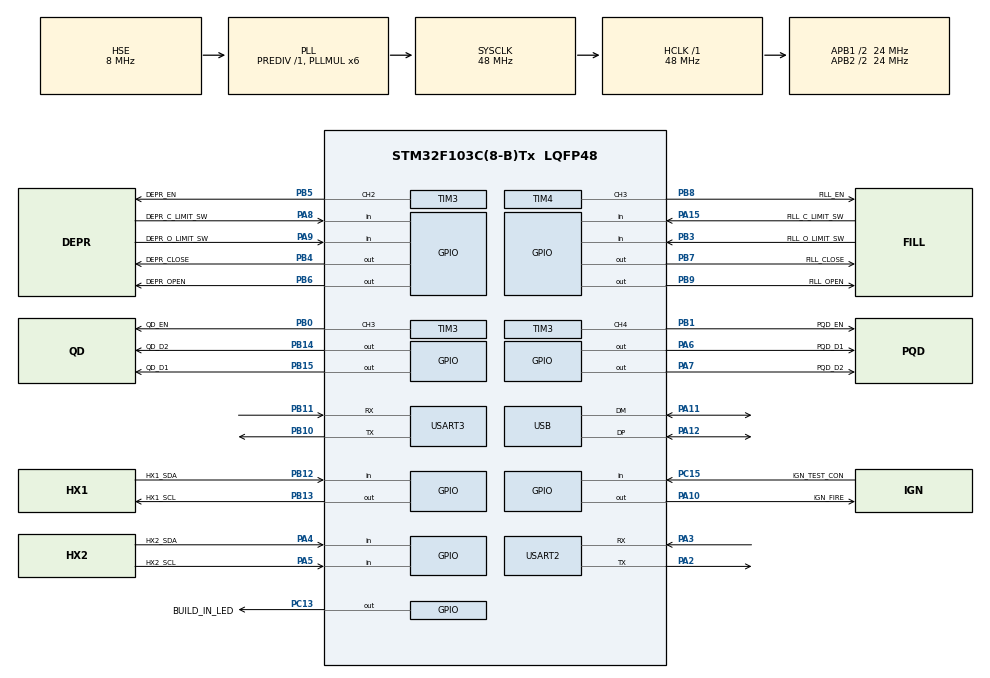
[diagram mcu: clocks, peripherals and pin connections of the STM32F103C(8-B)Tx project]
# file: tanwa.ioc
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Mcu.Family=STM32F1
PB10.Mode=Asynchronous
PB14.GPIO_Label=QD_D2
PA11.Mode=Device
PA6.GPIO_Label=PQD_D1
PB0.GPIO_Label=QD_EN
PB6.GPIO_Label=DEPR_OPEN
PB13.GPIO_Label=HX1_SCL
PB11.Signal=USART3_RX
PB13.Signal=GPIO_Output
PB15.Signal=GPIO_Output
PC15-OSC32_OUT.GPIO_Label=IGN_TEST_CON
TIM3.Channel-PWM\ Generation4\ CH4=TIM_CHANNEL_4
RCC.SYSCLKSource=RCC_SYSCLKSOURCE_PLLCLK
ProjectManager.StackSize=0x400
PD1-OSC_OUT.Signal=RCC_OSC_OUT
PA15.GPIO_Label=FILL_C_LIMIT_SW
PA12.Signal=USB_DP
RCC.HCLKFreq_Value=48000000
RCC.APB2TimFreq_Value=48000000
TIM3.Period=999
PB6.Signal=GPIO_Output
RCC.AHBFreq_Value=48000000
TIM4.Channel-PWM\ Generation3\ CH3=TIM_CHANNEL_3
RCC.PLLMUL=RCC_PLL_MUL6
PB12.GPIO_Label=HX1_SDA
PA14.Mode=Serial_Wire
TIM3.Prescaler=7
PB1.GPIO_Label=PQD_EN
PA10.GPIO_Label=IGN_FIRE
PB7.Signal=GPIO_Output
PA8.Signal=GPIO_Input
PB7.GPIO_Label=FILL_CLOSE
Mcu.Package=LQFP48
PB9.Signal=GPIO_Output
PB1.Signal=S_TIM3_CH4
PA6.Signal=GPIO_Output
USART2.VirtualMode=VM_ASYNC
PA10.Signal=GPIO_Output
PA15.Signal=GPIO_Input
RCC.APB2CLKDivider=RCC_HCLK_DIV2
PB5.GPIO_Label=DEPR_EN
RCC.APB1TimFreq_Value=48000000
TIM3.Pulse-PWM\ Generation2\ CH2=500
PA4.GPIO_Label=HX2_SDA
PB4.Signal=GPIO_Output
PA3.Signal=USART2_RX
PB3.GPIO_Label=FILL_O_LIMIT_SW
PD1-OSC_OUT.Mode=HSE-External-Oscillator
PB9.GPIO_Label=FILL_OPEN
TIM3.AutoReloadPreload=TIM_AUTORELOAD_PRELOAD_ENABLE
PA9.GPIO_Label=DEPR_O_LIMIT_SW
PC13-TAMPER-RTC.Signal=GPIO_Output
PD0-OSC_IN.Signal=RCC_OSC_IN
RCC.APB1CLKDivider=RCC_HCLK_DIV2
SH.S_TIM3_CH3.0=TIM3_CH3,PWM Generation3 CH3
RCC.ADCPresc=RCC_ADCPCLK2_DIV4
PA3.Mode=Asynchronous
PA13.Signal=SYS_JTMS-SWDIO
TIM3.Channel-PWM\ Generation3\ CH3=TIM_CHANNEL_3
PB8.GPIO_Label=FILL_EN
PA8.GPIO_Label=DEPR_C_LIMIT_SW
PB11.Mode=Asynchronous
ProjectManager.TargetToolchain=STM32CubeIDE
SH.S_TIM4_CH3.0=TIM4_CH3,PWM Generation3 CH3
PA9.Signal=GPIO_Input
RCC.USBFreq_Value=48000000
PC15-OSC32_OUT.Signal=GPIO_Input
PD0-OSC_IN.Mode=HSE-External-Oscillator
PB10.Signal=USART3_TX
PB14.Signal=GPIO_Output
PA5.Signal=GPIO_Input
SH.S_TIM3_CH2.0=TIM3_CH2,PWM Generation2 CH2
board=custom
PC13-TAMPER-RTC.GPIO_Label=BUILD_IN_LED
RCC.APB2Freq_Value=24000000
PB4.GPIO_Label=DEPR_CLOSE
PB15.GPIO_Label=QD_D1
PA13.Mode=Serial_Wire
Mcu.Name=STM32F103C(8-B)Tx
PA2.Signal=USART2_TX
PB3.Signal=GPIO_Input
PA4.Signal=GPIO_Input
RCC.SYSCLKFreq_VALUE=48000000
PB5.Signal=S_TIM3_CH2
PA7.GPIO_Label=PQD_D2
PA12.Mode=Device
PA5.GPIO_Label=HX2_SCL
USART3.VirtualMode=VM_ASYNC
PA11.Signal=USB_DM
PA14.Signal=SYS_JTCK-SWCLK
ProjectManager.HeapSize=0x200
NVIC.PriorityGroup=NVIC_PRIORITYGROUP_4
TIM3.Channel-PWM\ Generation2\ CH2=TIM_CHANNEL_2
PA2.Mode=Asynchronous
PB8.Signal=S_TIM4_CH3
RCC.APB1Freq_Value=24000000
PB0.Signal=S_TIM3_CH3
PB12.Signal=GPIO_Input
SH.S_TIM3_CH4.0=TIM3_CH4,PWM Generation4 CH4
PA7.Signal=GPIO_Output

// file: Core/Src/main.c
/* USER CODE BEGIN Header */
/**
  ******************************************************************************
  * @file           : main.c
  * @brief          : Main program body
  ******************************************************************************
  * @attention
  *
  * <h2><center>&copy; Copyright (c) 2021 STMicroelectronics.
  * All rights reserved.</center></h2>
  *
  * This software component is licensed by ST under BSD 3-Clause license,
  * the "License"; You may not use this file except in compliance with the
  * License. You may obtain a copy of the License at:
  *                        opensource.org/licenses/BSD-3-Clause
  *
  ******************************************************************************
  */
/* USER CODE END Header */
#include "main.h"
#include "tim.h"
#include "usart.h"
#include "usb.h"
#include "gpio.h"

/* USER CODE BEGIN Includes */
#include <L298.h>
#include <Bluetooth.h>
#include <Igniter.h>
/* USER CODE END Includes */

/* USER CODE BEGIN PV */
 uint8_t state = 0;

/* USER CODE END PV */

void SystemClock_Config(void);

int main(void)
{

  /* MCU Configuration--------------------------------------------------------*/

  /* Reset of all peripherals, Initializes the Flash interface and the Systick. */
  HAL_Init();

  /* Configure the system clock */
  SystemClock_Config();

  /* Initialize all configured peripherals */
  MX_GPIO_Init();
  MX_USART2_UART_Init();
  MX_USB_PCD_Init();
  MX_TIM3_Init();
  MX_TIM4_Init();
  MX_USART3_UART_Init();
  /* USER CODE BEGIN 2 */
  HAL_TIM_PWM_Start(&htim3, TIM_CHANNEL_2);
  HAL_TIM_PWM_Start(&htim3, TIM_CHANNEL_3);
  HAL_TIM_PWM_Start(&htim3, TIM_CHANNEL_4);
  HAL_TIM_PWM_Start(&htim4, TIM_CHANNEL_3);

//  HAL_TIM_PWM_Start(&htim1, TIM_CHANNEL_3); test timer

  /* USER CODE END 2 */

  /* Infinite loop */
  /* USER CODE BEGIN WHILE */

 //Motor - Fill - PB7(close) PB8(enable) PB9(open)

//ADDED FOR BLUETOOTH///
 // HAL_GPIO_WritePin(Bluetooth_reset_GPIO_Port, Bluetooth_reset_Pin, SET);//ADDITIONAL PIN PC14 FOR RESET //
  HAL_Delay(1000);

  char* buff;
  memset(buff, 0, sizeof(buff));
  // HAL_TIM_Base_Start_IT(&htim2);
  __HAL_UART_ENABLE_IT(&huart2, UART_IT_RXNE);

  /* USER CODE END 2 */

  /* USER CODE BEGIN WHILE */

  Igniter* Ignit = igniter_init(IGN_FIRE_GPIO_Port, IGN_FIRE_Pin, IGN_TEST_CON_GPIO_Port, IGN_TEST_CON_Pin);
  Motor* Fill = motor_init(FILL_OPEN_GPIO_Port, FILL_OPEN_Pin, FILL_CLOSE_GPIO_Port , FILL_CLOSE_Pin, &htim3 , TIM_CHANNEL_3, FILL_O_LIMIT_SW_GPIO_Port, FILL_O_LIMIT_SW_Pin, FILL_C_LIMIT_SW_GPIO_Port, FILL_C_LIMIT_SW_Pin);

  while (1)
  {
	  switch(state){
	  case 0: //test state
		  motor_initial(Fill);
		  if(igniter_is_connected(Ignit)){
			  HAL_GPIO_TogglePin(BUILD_IN_LED_GPIO_Port, BUILD_IN_LED_Pin);
		  }
		  HAL_Delay(1000);
		  break;
	  }

  }
    /* USER CODE END WHILE */

}

void SystemClock_Config(void)
{
  RCC_OscInitTypeDef RCC_OscInitStruct = {0};
  RCC_ClkInitTypeDef RCC_ClkInitStruct = {0};
  RCC_PeriphCLKInitTypeDef PeriphClkInit = {0};

  /** Initializes the RCC Oscillators according to the specified parameters
  * in the RCC_OscInitTypeDef structure.
  */
  RCC_OscInitStruct.OscillatorType = RCC_OSCILLATORTYPE_HSE;
  RCC_OscInitStruct.HSEState = RCC_HSE_ON;
  RCC_OscInitStruct.HSEPredivValue = RCC_HSE_PREDIV_DIV1;
  RCC_OscInitStruct.HSIState = RCC_HSI_ON;
  RCC_OscInitStruct.PLL.PLLState = RCC_PLL_ON;
  RCC_OscInitStruct.PLL.PLLSource = RCC_PLLSOURCE_HSE;
  RCC_OscInitStruct.PLL.PLLMUL = RCC_PLL_MUL6;
  if (HAL_RCC_OscConfig(&RCC_OscInitStruct) != HAL_OK)
  {
    Error_Handler();
  }
  /** Initializes the CPU, AHB and APB buses clocks
  */
  RCC_ClkInitStruct.ClockType = RCC_CLOCKTYPE_HCLK|RCC_CLOCKTYPE_SYSCLK
                              |RCC_CLOCKTYPE_PCLK1|RCC_CLOCKTYPE_PCLK2;
  RCC_ClkInitStruct.SYSCLKSource = RCC_SYSCLKSOURCE_PLLCLK;
  RCC_ClkInitStruct.AHBCLKDivider = RCC_SYSCLK_DIV1;
  RCC_ClkInitStruct.APB1CLKDivider = RCC_HCLK_DIV2;
  RCC_ClkInitStruct.APB2CLKDivider = RCC_HCLK_DIV2;

  if (HAL_RCC_ClockConfig(&RCC_ClkInitStruct, FLASH_LATENCY_1) != HAL_OK)
  {
    Error_Handler();
  }
  PeriphClkInit.PeriphClockSelection = RCC_PERIPHCLK_USB;
  PeriphClkInit.UsbClockSelection = RCC_USBCLKSOURCE_PLL;
  if (HAL_RCCEx_PeriphCLKConfig(&PeriphClkInit) != HAL_OK)
  {
    Error_Handler();
  }
}

void Error_Handler(void)
{
  __disable_irq();
  while (1)
  {
  }
}

/************************ (C) COPYRIGHT STMicroelectronics *****END OF FILE****/
